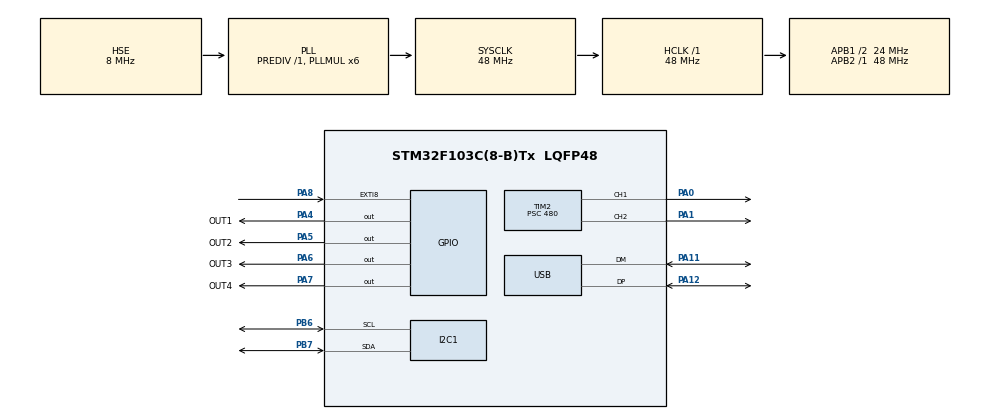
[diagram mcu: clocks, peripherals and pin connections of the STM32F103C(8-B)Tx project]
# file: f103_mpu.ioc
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I2C1.I2C_Mode=I2C_Fast
Mcu.Family=STM32F1
Mcu.Name=STM32F103C(8-B)Tx
Mcu.Package=LQFP48
NVIC.EXTI9_5_IRQn=true\:0\:0\:false\:false\:true\:true\:true
NVIC.I2C1_ER_IRQn=true\:0\:0\:false\:false\:true\:true\:true
NVIC.I2C1_EV_IRQn=true\:0\:0\:false\:false\:true\:true\:true
NVIC.PriorityGroup=NVIC_PRIORITYGROUP_4
NVIC.USB_LP_CAN1_RX0_IRQn=true\:0\:0\:false\:false\:true\:false\:true
PA0-WKUP.Signal=S_TIM2_CH1_ETR
PA1.Signal=S_TIM2_CH2
PA11.Mode=Device
PA11.Signal=USB_DM
PA12.Mode=Device
PA12.Signal=USB_DP
PA13.Mode=Serial_Wire
PA13.Signal=SYS_JTMS-SWDIO
PA14.Mode=Serial_Wire
PA14.Signal=SYS_JTCK-SWCLK
PA4.GPIO_Label=OUT1
PA4.Signal=GPIO_Output
PA5.GPIO_Label=OUT2
PA5.Signal=GPIO_Output
PA6.GPIO_Label=OUT3
PA6.Signal=GPIO_Output
PA7.GPIO_Label=OUT4
PA7.Signal=GPIO_Output
PA8.GPIO_PuPd=GPIO_PULLDOWN
PA8.Signal=GPXTI8
PB6.Mode=I2C
PB6.Signal=I2C1_SCL
PB7.Mode=I2C
PB7.Signal=I2C1_SDA
PD0-OSC_IN.Mode=HSE-External-Oscillator
PD0-OSC_IN.Signal=RCC_OSC_IN
PD1-OSC_OUT.Mode=HSE-External-Oscillator
PD1-OSC_OUT.Signal=RCC_OSC_OUT
ProjectManager.HeapSize=0x200
ProjectManager.StackSize=0x400
ProjectManager.TargetToolchain=STM32CubeIDE
RCC.AHBFreq_Value=48000000
RCC.APB1CLKDivider=RCC_HCLK_DIV2
RCC.APB1Freq_Value=24000000
RCC.APB1TimFreq_Value=48000000
RCC.APB2Freq_Value=48000000
RCC.APB2TimFreq_Value=48000000
RCC.HCLKFreq_Value=48000000
RCC.PLLMUL=RCC_PLL_MUL6
RCC.SYSCLKFreq_VALUE=48000000
RCC.SYSCLKSource=RCC_SYSCLKSOURCE_PLLCLK
RCC.USBFreq_Value=48000000
SH.S_TIM2_CH1_ETR.0=TIM2_CH1,PWM Generation1 CH1
SH.S_TIM2_CH2.0=TIM2_CH2,PWM Generation2 CH2
TIM2.Channel-PWM\ Generation1\ CH1=TIM_CHANNEL_1
TIM2.Channel-PWM\ Generation2\ CH2=TIM_CHANNEL_2
TIM2.Period=100
TIM2.Prescaler=480
USB_DEVICE.CLASS_NAME_FS=CDC
USB_DEVICE.VirtualMode=Cdc
USB_DEVICE.VirtualModeFS=Cdc_FS
VP_TIM2_VS_ClockSourceINT.Mode=Internal
VP_USB_DEVICE_VS_USB_DEVICE_CDC_FS.Mode=CDC_FS
board=custom

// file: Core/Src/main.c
/* USER CODE BEGIN Header */
/**
 ******************************************************************************
 * @file           : main.c
 * @brief          : Main program body
 ******************************************************************************
 * @attention
 *
 * <h2><center>&copy; Copyright (c) 2020 STMicroelectronics.
 * All rights reserved.</center></h2>
 *
 * This software component is licensed by ST under Ultimate Liberty license
 * SLA0044, the "License"; You may not use this file except in compliance with
 * the License. You may obtain a copy of the License at:
 *                             www.st.com/SLA0044
 *
 ******************************************************************************
 */
/* USER CODE END Header */
#include "main.h"
#include "usb_device.h"

/* USER CODE BEGIN Includes */
#include "AccGyro.h"
#include "usbd_cdc_if.h"
/* USER CODE END Includes */

/* USER CODE BEGIN PD */
#define out1_out3(a) HAL_GPIO_WritePin(GPIOA, GPIO_PIN_4 | GPIO_PIN_6, a)
#define out2_out4(b) HAL_GPIO_WritePin(GPIOA, GPIO_PIN_5 | GPIO_PIN_7, b)
#define out1_out4(c) HAL_GPIO_WritePin(GPIOA, GPIO_PIN_4 | GPIO_PIN_7, c)
#define out2_out3(d) HAL_GPIO_WritePin(GPIOA, GPIO_PIN_5 | GPIO_PIN_6, d)

#define MOTOR_SET_L(x) do{\
	HAL_GPIO_WritePin(GPIOA, GPIO_PIN_4, (x));\
	HAL_GPIO_WritePin(GPIOA, GPIO_PIN_5, !(x));\
	}while(0)

#define MOTOR_SET_R(x) do{\
	HAL_GPIO_WritePin(GPIOA, GPIO_PIN_6, (x));\
	HAL_GPIO_WritePin(GPIOA, GPIO_PIN_7, !(x));\
	}while(0)

/* USER CODE END PD */

I2C_HandleTypeDef hi2c1;

TIM_HandleTypeDef htim2;

/* USER CODE BEGIN PV */
struct {
	uint8_t accDataReadyRead :1;
	uint8_t accDataReady :1;
	uint8_t rem :6;
} mFlags = { 1, 0, 0 };

uint8_t mDataRead[6 + 2 + 6];

int8_t receivedData[50];  // kintamasis duomenu gavimui is kompiuterio
uint8_t Receiveflag;  // veleveles
uint8_t spiTXbuf[2], data_acc_gyr[12];  // jutiklio nuskaitymui reikalingi kintamieji
/* USER CODE END PV */

void SystemClock_Config(void);
static void MX_GPIO_Init(void);
static void MX_I2C1_Init(void);
static void MX_TIM2_Init(void);
/* USER CODE BEGIN PFP */

void CDC_ReceiveCallback(uint8_t *Buf, uint32_t Len) {
	Receiveflag = 1;
	memset(receivedData,0,50);
	memcpy(receivedData, Buf, Len);

	HAL_I2C_Mem_Read(&hi2c1, MPU_ADDR << 1, ACCEL_XOUT_H_REG, 1, mDataRead, 6 + 2 + 6, 1);
}

void HAL_GPIO_EXTI_Callback(uint16_t GPIO_Pin) {
	mFlags.accDataReadyRead = 1;
}

/**
 ******************************************************************************
 * @note funkcija kuri kontroluoja motoru sukimosi krypti
 */
void Motors_Control(int8_t DutyCycleA, int8_t DutyCycleB) {
	htim2.Instance->CCR1 = abs(DutyCycleA);  // Motor A speed control
	htim2.Instance->CCR2 = abs(DutyCycleB);  // Motor B speed control

	MOTOR_SET_L(DutyCycleA >= 0);
	MOTOR_SET_R(DutyCycleB >= 0);
}
/**
 ******************************************************************************
 * @note tikrinamas gautas paketas is kompiuterio pagal gauta paketa
 * arba paleidziamo motorai arba siunciami is jutiklio nuskaityti duomenys i kompiuteri
 */
void checking_package(uint8_t data_request) {
	if (data_request == 'M') Motors_Control(receivedData[1], receivedData[2]);
	else {
		CDC_Transmit_FS(mDataRead, 14);
	}
}
/* USER CODE END PFP */

int main(void) {

	/* MCU Configuration--------------------------------------------------------*/

	/* Reset of all peripherals, Initializes the Flash interface and the Systick. */
	HAL_Init();

	/* Configure the system clock */
	SystemClock_Config();

	/* Initialize all configured peripherals */
	MX_GPIO_Init();
	MX_I2C1_Init();
	MX_USB_DEVICE_Init();
	MX_TIM2_Init();
	/* USER CODE BEGIN 2 */
	AG_start(&hi2c1);

	HAL_TIM_PWM_Start(&htim2, TIM_CHANNEL_1);  // paleidziami laikmaciai PWM signalo generavimui
	HAL_TIM_PWM_Start(&htim2, TIM_CHANNEL_2);

	htim2.Instance->CCR1 = 5;  // Motor A speed control
	htim2.Instance->CCR2 = 5;  // Motor B speed control
	/* USER CODE END 2 */

	/* Infinite loop */
	/* USER CODE BEGIN WHILE */
	while (1) {
		//==== ACC/GYRO duomenu nuskaitymas ========================================
		//nuskaityti duomenis is akselerometro ir giroskopo kai duomenys paruosti
		if (mFlags.accDataReadyRead) {
			mFlags.accDataReadyRead = 0;
		}

		if (Receiveflag == 1) {
			Receiveflag = 0;
			checking_package(receivedData[0]);
		}
		/* USER CODE END WHILE */

	}
}

void SystemClock_Config(void) {
	RCC_OscInitTypeDef RCC_OscInitStruct = { 0 };
	RCC_ClkInitTypeDef RCC_ClkInitStruct = { 0 };
	RCC_PeriphCLKInitTypeDef PeriphClkInit = { 0 };

	/** Initializes the RCC Oscillators according to the specified parameters
	 * in the RCC_OscInitTypeDef structure.
	 */
	RCC_OscInitStruct.OscillatorType = RCC_OSCILLATORTYPE_HSE;
	RCC_OscInitStruct.HSEState = RCC_HSE_ON;
	RCC_OscInitStruct.HSEPredivValue = RCC_HSE_PREDIV_DIV1;
	RCC_OscInitStruct.HSIState = RCC_HSI_ON;
	RCC_OscInitStruct.PLL.PLLState = RCC_PLL_ON;
	RCC_OscInitStruct.PLL.PLLSource = RCC_PLLSOURCE_HSE;
	RCC_OscInitStruct.PLL.PLLMUL = RCC_PLL_MUL6;
	if (HAL_RCC_OscConfig(&RCC_OscInitStruct) != HAL_OK) {
		Error_Handler();
	}
	/** Initializes the CPU, AHB and APB buses clocks
	 */
	RCC_ClkInitStruct.ClockType = RCC_CLOCKTYPE_HCLK | RCC_CLOCKTYPE_SYSCLK | RCC_CLOCKTYPE_PCLK1 | RCC_CLOCKTYPE_PCLK2;
	RCC_ClkInitStruct.SYSCLKSource = RCC_SYSCLKSOURCE_PLLCLK;
	RCC_ClkInitStruct.AHBCLKDivider = RCC_SYSCLK_DIV1;
	RCC_ClkInitStruct.APB1CLKDivider = RCC_HCLK_DIV2;
	RCC_ClkInitStruct.APB2CLKDivider = RCC_HCLK_DIV1;

	if (HAL_RCC_ClockConfig(&RCC_ClkInitStruct, FLASH_LATENCY_1) != HAL_OK) {
		Error_Handler();
	}
	PeriphClkInit.PeriphClockSelection = RCC_PERIPHCLK_USB;
	PeriphClkInit.UsbClockSelection = RCC_USBCLKSOURCE_PLL;
	if (HAL_RCCEx_PeriphCLKConfig(&PeriphClkInit) != HAL_OK) {
		Error_Handler();
	}
}

static void MX_I2C1_Init(void) {

	hi2c1.Instance = I2C1;
	hi2c1.Init.ClockSpeed = 400000;
	hi2c1.Init.DutyCycle = I2C_DUTYCYCLE_2;
	hi2c1.Init.OwnAddress1 = 0;
	hi2c1.Init.AddressingMode = I2C_ADDRESSINGMODE_7BIT;
	hi2c1.Init.DualAddressMode = I2C_DUALADDRESS_DISABLE;
	hi2c1.Init.OwnAddress2 = 0;
	hi2c1.Init.GeneralCallMode = I2C_GENERALCALL_DISABLE;
	hi2c1.Init.NoStretchMode = I2C_NOSTRETCH_DISABLE;
	if (HAL_I2C_Init(&hi2c1) != HAL_OK) {
		Error_Handler();
	}

}

static void MX_TIM2_Init(void) {

	TIM_ClockConfigTypeDef sClockSourceConfig = { 0 };
	TIM_MasterConfigTypeDef sMasterConfig = { 0 };
	TIM_OC_InitTypeDef sConfigOC = { 0 };

	htim2.Instance = TIM2;
	htim2.Init.Prescaler = 480;
	htim2.Init.CounterMode = TIM_COUNTERMODE_UP;
	htim2.Init.Period = 100;
	htim2.Init.ClockDivision = TIM_CLOCKDIVISION_DIV1;
	htim2.Init.AutoReloadPreload = TIM_AUTORELOAD_PRELOAD_DISABLE;
	if (HAL_TIM_Base_Init(&htim2) != HAL_OK) {
		Error_Handler();
	}
	sClockSourceConfig.ClockSource = TIM_CLOCKSOURCE_INTERNAL;
	if (HAL_TIM_ConfigClockSource(&htim2, &sClockSourceConfig) != HAL_OK) {
		Error_Handler();
	}
	if (HAL_TIM_PWM_Init(&htim2) != HAL_OK) {
		Error_Handler();
	}
	sMasterConfig.MasterOutputTrigger = TIM_TRGO_RESET;
	sMasterConfig.MasterSlaveMode = TIM_MASTERSLAVEMODE_DISABLE;
	if (HAL_TIMEx_MasterConfigSynchronization(&htim2, &sMasterConfig) != HAL_OK) {
		Error_Handler();
	}
	sConfigOC.OCMode = TIM_OCMODE_PWM1;
	sConfigOC.Pulse = 0;
	sConfigOC.OCPolarity = TIM_OCPOLARITY_HIGH;
	sConfigOC.OCFastMode = TIM_OCFAST_DISABLE;
	if (HAL_TIM_PWM_ConfigChannel(&htim2, &sConfigOC, TIM_CHANNEL_1) != HAL_OK) {
		Error_Handler();
	}
	if (HAL_TIM_PWM_ConfigChannel(&htim2, &sConfigOC, TIM_CHANNEL_2) != HAL_OK) {
		Error_Handler();
	}
	HAL_TIM_MspPostInit(&htim2);

}

static void MX_GPIO_Init(void) {
	GPIO_InitTypeDef GPIO_InitStruct = { 0 };

	/* GPIO Ports Clock Enable */
	__HAL_RCC_GPIOD_CLK_ENABLE();
	__HAL_RCC_GPIOA_CLK_ENABLE();
	__HAL_RCC_GPIOB_CLK_ENABLE();

	/*Configure GPIO pin Output Level */
	HAL_GPIO_WritePin(GPIOA, OUT1_Pin | OUT2_Pin | OUT3_Pin | OUT4_Pin, GPIO_PIN_RESET);

	/*Configure GPIO pins : OUT1_Pin OUT2_Pin OUT3_Pin OUT4_Pin */
	GPIO_InitStruct.Pin = OUT1_Pin | OUT2_Pin | OUT3_Pin | OUT4_Pin;
	GPIO_InitStruct.Mode = GPIO_MODE_OUTPUT_PP;
	GPIO_InitStruct.Pull = GPIO_NOPULL;
	GPIO_InitStruct.Speed = GPIO_SPEED_FREQ_LOW;
	HAL_GPIO_Init(GPIOA, &GPIO_InitStruct);

	/*Configure GPIO pin : PA8 */
	GPIO_InitStruct.Pin = GPIO_PIN_8;
	GPIO_InitStruct.Mode = GPIO_MODE_IT_RISING;
	GPIO_InitStruct.Pull = GPIO_PULLDOWN;
	HAL_GPIO_Init(GPIOA, &GPIO_InitStruct);

	/* EXTI interrupt init*/
	HAL_NVIC_SetPriority(EXTI9_5_IRQn, 0, 0);
	HAL_NVIC_EnableIRQ(EXTI9_5_IRQn);

}

void Error_Handler(void) {
	__disable_irq();
	while (1) {
	}
}

/************************ (C) COPYRIGHT STMicroelectronics *****END OF FILE****/
